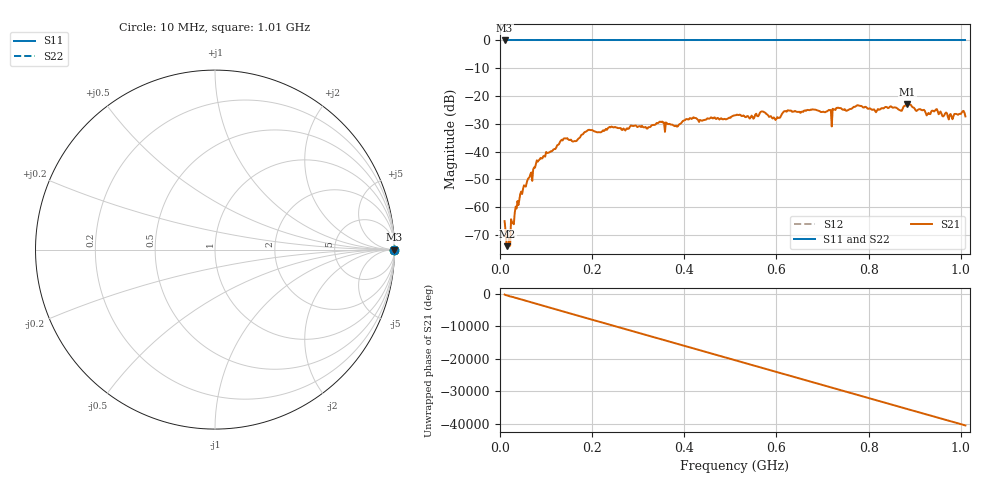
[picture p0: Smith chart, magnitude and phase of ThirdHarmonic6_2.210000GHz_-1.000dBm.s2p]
! 8/17/2025 2:20:03 AM
! C:\ANRITSUVNA\TEMP\TEMP.S2P
! CHANNEL.1
! TR.MEASUREMENT
! RAW.DATA
! RF.CORRECTION.OFF
! AVERAGING.OFF
! IF.BANDWIDTH: 5KHZ
! SWEEPTYPE:  FREQ.SWEEP(Linear)
! Reference Plane Port Info
! PORT:  PORT1  PORT2
! DISTANCE:  0  m  0  m
! TIME:  0  s  0  s
! PHASE.OFFSET:  0  deg.  0  deg.
! LOSS:  0  dB  0  dB
! REF.LOSS:  0  dB  0  dB
! REF.FREQ:  0  Hz  0  Hz
! Power Info
! POWER:  -20  dBm  -20  dBm
! EFF.POWER:  -20  dBm  -20  dBm
! SOURCE.ATTEN:  0  dB  0  dB
! TEST.ATTEN:  0  dB  0  dB
# GHZ S RI R 50.0
! FREQ.GHZ  S11RE  S11IM  S21RE  S21IM  S12RE  S12IM  S22RE  S22IM
!; PortSelection: Port_12
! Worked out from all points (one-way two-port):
!   501 points, 10 MHz to 1.01 GHz, reference 50 ohm
!   highest |S21| = -22.90 dB at 884 MHz (marker M1); lowest = -74.0 dB at 16 MHz (marker M2)
!   lowest |S11| = 0.0 dB at 10 MHz (marker M3)
!   |S11| at or under -10 dB: nowhere
!   |S22| runs from 0.0 to 0.0 dB; largest |S21 - S12| = 1.1
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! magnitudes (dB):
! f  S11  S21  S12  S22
! 10 MHz  0.0  -65.0  0.0  0.0
! 16 MHz  0.0  -74.0  0.0  0.0
! 18 MHz  0.0  -73.7  0.0  0.0
! 28 MHz  0.0  -65.8  0.0  0.0
! 48 MHz  0.0  -55.3  0.0  0.0
! 82 MHz  0.0  -43.6  0.0  0.0
! 136 MHz  0.0  -36.0  0.0  0.0
! 162 MHz  0.0  -36.2  0.0  0.0
! 178 MHz  0.0  -33.9  0.0  0.0
! 344 MHz  0.0  -29.6  0.0  0.0
! 382 MHz  0.0  -30.6  0.0  0.0
! 416 MHz  0.0  -28.2  0.0  0.0
! 510 MHz  0.0  -26.9  0.0  0.0
! 570 MHz  0.0  -25.6  0.0  0.0
! 596 MHz  0.0  -28.1  0.0  0.0
! 622 MHz  0.0  -25.6  0.0  0.0
! 678 MHz  0.0  -24.8  0.0  0.0
! 844 MHz  0.0  -24.2  0.0  0.0
! 870 MHz  0.0  -25.3  0.0  0.0
! 884 MHz  0.0  -22.9  0.0  0.0
! 930 MHz  0.0  -26.1  0.0  0.0
! 1.01 GHz  0.0  -27.3  0.0  0.0
